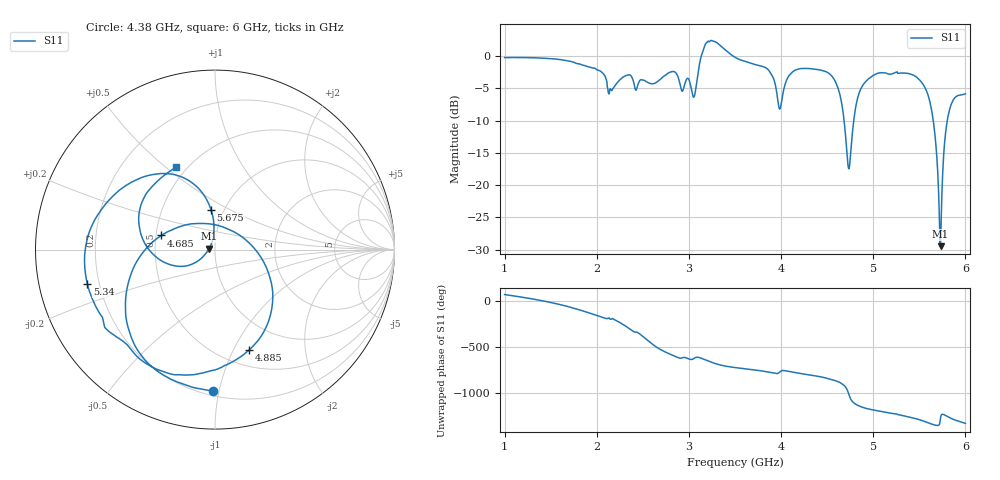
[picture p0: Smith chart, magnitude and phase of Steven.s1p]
!Agilent Technologies,E8364B,MY43040633,A.07.50.37
!Agilent E8364B: A.07.50.37
!Date: Tuesday, December 16, 2025 17:12:16
!Correction: S11(Full 1 Port(1))
!S1P File: Measurement: S11:
# Hz S  RI  R 50
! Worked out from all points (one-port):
!   1001 points, 1 GHz to 6 GHz, reference 50 ohm
!   lowest |S11| = -29.4 dB at 5.73 GHz (marker M1), VSWR 1.07, Z = 46.8 + j0.458 ohm
!   |S11| at or under -10 dB: 4.683 GHz to 4.788 GHz (105 MHz wide, 2.22 % of centre); 5.651 GHz to 5.804 GHz (152.7 MHz wide, 2.67 % of centre)
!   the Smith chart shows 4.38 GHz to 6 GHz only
!   S11 on the Smith chart (normalised r, x): 4.38 GHz: 0.23, -0.96; 4.685 GHz: 0.53, +0.09; 4.885 GHz: 0.68, -1.16; 5.34 GHz: 0.15, -0.13; 5.675 GHz: 0.87, +0.41; 6 GHz: 0.44, +0.54
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1e9  0.2843 0.927
1.375e9  0.9419 0.2048
1.625e9  0.6948 -0.62
1.81e9  -0.0408 -0.8646
1.99e9  -0.6948 -0.3845
2.25e9  -0.4087 0.5077
2.34e9  0.2207 0.6774
2.47e9  0.6477 0.0276
2.585e9  -0.00792 -0.6104
2.725e9  -0.6927 0.0162
2.875e9  -0.2576 0.6584
3.065e9  -0.1426 0.4863
3.125e9  -0.2436 0.9081
3.205e9  0.3831 1.236
3.32e9  1.024 0.6905
3.5e9  0.9752 0.0134
3.955e9  0.2218 -0.457
4.125e9  0.4966 -0.5648
4.38e9  -0.0129 -0.7865
4.685e9  -0.2988 0.0789
4.75e9  0.137 0.0807
4.885e9  0.1922 -0.5575
5.34e9  -0.7112 -0.1922
5.375e9  -0.726 -0.0909
5.675e9  -0.0223 0.2227
5.73e9  -0.0334 0.00489
5.82e9  -0.3628 -0.00664
6e9  -0.2162 0.4597
